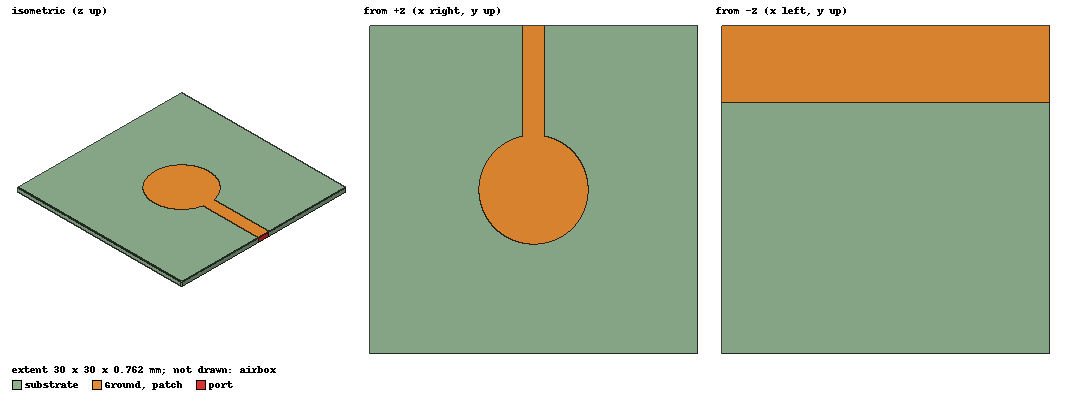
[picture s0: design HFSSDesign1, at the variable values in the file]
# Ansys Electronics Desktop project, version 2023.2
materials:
  vacuum: permittivity=1
  Rogers RT/duroid 5880 (tm): permittivity=2.2 dielectric_loss_tangent=0.0009
  air: permittivity=1.0006 permeability=1.0000004

design HFSSDesign1 (HFSS, HFSS Modal Network, model units mm)
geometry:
  substrate [Rogers RT/duroid 5880 (tm)] = box(corner=(-15mm, -15mm, 0mm), size=(30mm, 30mm, 0.762mm))
  Ground = rectangle(corner=(-15mm, 8mm, 0mm), x_size=30mm, y_size=7mm)
  patch = circle(normal=Z, centre=(0mm, 0mm, 0.762mm), radius=5mm)
  feedline = rectangle(corner=(-1mm, 4mm, 0.762mm), x_size=2mm, y_size=11mm)
  patch.unite(feedline)
  port = rectangle(corner=(1mm, 15mm, 0.762mm), z_size=-0.762mm, x_size=-2mm)
  airbox [air] = box(corner=(-30mm, -30mm, -5mm), size=(60mm, 60mm, 60mm))
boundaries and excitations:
  PerfE1: Perfect E Objects=Ground
  PerfE2: Perfect E Objects=patch
  Rad1: Radiation Objects=airbox
  1: Lumped Port Objects=port LumpedPortType=Default Modes{Mode1{IntLine{(0.05, 15, 0) -> (100mm, 15000mm, 750mm)} CharImp=Zpi RenormImp=50ohm}} Impedance=50ohm
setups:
  Setup1: HfssDriven Frequency=4GHz MaxDeltaS=0.02 MaximumPasses=10 MinimumPasses=1 MinimumConvergedPasses=1 PercentRefinement=30 BasisOrder=1 PortAccuracy=2 DrivenSolverType="Direct Solver" ConstantDelta=0s
    sweep Sweep: 2GHz to 6GHz step 0.01GHz; Type=Fast SaveFields
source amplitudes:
  1:1: 1W 0deg
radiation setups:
  Infinite Sphere1: Infinite Sphere Theta=0deg..180deg step 2deg Phi=-180deg..180deg step 2deg
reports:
  S Parameter Plot 1: dB(S(1,1)) vs Freq on Setup1 : Sweep; markers m1 at 4.21GHz
  VSWR Plot 1: VSWR(1) vs Freq on Setup1 : Sweep; markers m1 at 4.17GHz
  Gain Plot 1: GainTotal vs Phi, Theta on Setup1 : Sweep, Infinite Sphere1 [Freq=4GHz]
